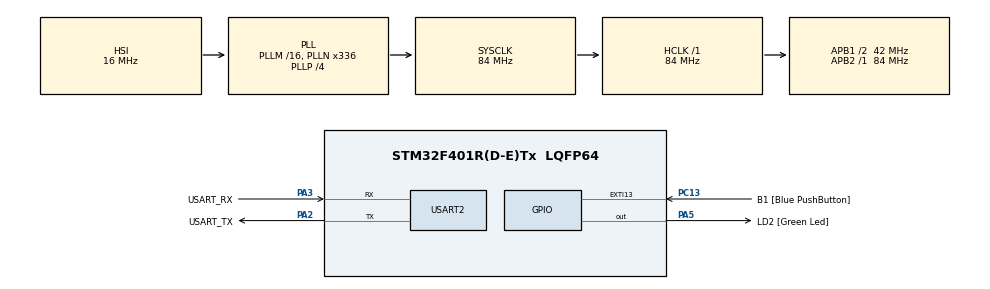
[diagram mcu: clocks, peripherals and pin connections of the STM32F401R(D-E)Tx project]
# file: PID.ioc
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Mcu.Family=STM32F4
Mcu.Name=STM32F401R(D-E)Tx
Mcu.Package=LQFP64
NVIC.PriorityGroup=NVIC_PRIORITYGROUP_0
PA13.GPIO_Label=TMS
PA13.Mode=Serial_Wire
PA13.Signal=SYS_JTMS-SWDIO
PA14.GPIO_Label=TCK
PA14.Mode=Serial_Wire
PA14.Signal=SYS_JTCK-SWCLK
PA2.GPIO_Label=USART_TX
PA2.GPIO_Mode=GPIO_MODE_AF_PP
PA2.GPIO_PuPd=GPIO_NOPULL
PA2.GPIO_Speed=GPIO_SPEED_FREQ_LOW
PA2.Mode=Asynchronous
PA2.Signal=USART2_TX
PA3.GPIO_Label=USART_RX
PA3.GPIO_Mode=GPIO_MODE_AF_PP
PA3.GPIO_PuPd=GPIO_NOPULL
PA3.GPIO_Speed=GPIO_SPEED_FREQ_LOW
PA3.Mode=Asynchronous
PA3.Signal=USART2_RX
PA5.GPIO_Label=LD2 [Green Led]
PA5.GPIO_Mode=GPIO_MODE_OUTPUT_PP
PA5.GPIO_PuPd=GPIO_NOPULL
PA5.GPIO_Speed=GPIO_SPEED_FREQ_LOW
PA5.Signal=GPIO_Output
PB3.GPIO_Label=SWO
PB3.Signal=SYS_JTDO-SWO
PC13-ANTI_TAMP.GPIO_Label=B1 [Blue PushButton]
PC13-ANTI_TAMP.GPIO_ModeDefaultEXTI=GPIO_MODE_IT_FALLING
PC13-ANTI_TAMP.GPIO_PuPd=GPIO_NOPULL
PC13-ANTI_TAMP.Signal=GPXTI13
PC14-OSC32_IN.Mode=LSE-External-Oscillator
PC14-OSC32_IN.Signal=RCC_OSC32_IN
PC15-OSC32_OUT.Mode=LSE-External-Oscillator
PC15-OSC32_OUT.Signal=RCC_OSC32_OUT
PH0\ -\ OSC_IN.Mode=HSE-External-Clock-Source
PH0\ -\ OSC_IN.Signal=RCC_OSC_IN
PH1\ -\ OSC_OUT.Mode=HSE-External-Clock-Source
PH1\ -\ OSC_OUT.Signal=RCC_OSC_OUT
ProjectManager.HeapSize=0x200
ProjectManager.StackSize=0x400
ProjectManager.TargetToolchain=Makefile
RCC.48MHZClocksFreq_Value=48000000
RCC.AHBFreq_Value=84000000
RCC.APB1CLKDivider=RCC_HCLK_DIV2
RCC.APB1Freq_Value=42000000
RCC.APB1TimFreq_Value=84000000
RCC.APB2Freq_Value=84000000
RCC.APB2TimFreq_Value=84000000
RCC.CortexFreq_Value=84000000
RCC.HCLKFreq_Value=84000000
RCC.HSE_VALUE=8000000
RCC.HSI_VALUE=16000000
RCC.PLLN=336
RCC.PLLP=RCC_PLLP_DIV4
RCC.PLLQ=7
RCC.SYSCLKFreq_VALUE=84000000
RCC.SYSCLKSource=RCC_SYSCLKSOURCE_PLLCLK
RCC.VCOOutputFreq_Value=336000000
USART2.VirtualMode=VM_ASYNC
board=NUCLEO-F401RE

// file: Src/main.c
/**
  ******************************************************************************
  * @file           : main.c
  * @brief          : Main program body
  ******************************************************************************
  ** This notice applies to any and all portions of this file
  * that are not between comment pairs USER CODE BEGIN and
  * USER CODE END. Other portions of this file, whether
  * inserted by the user or by software development tools
  * are owned by their respective copyright owners.
  *
  * COPYRIGHT(c) 2018 STMicroelectronics
  *
  * Redistribution and use in source and binary forms, with or without modification,
  * are permitted provided that the following conditions are met:
  *   1. Redistributions of source code must retain the above copyright notice,
  *      this list of conditions and the following disclaimer.
  *   2. Redistributions in binary form must reproduce the above copyright notice,
  *      this list of conditions and the following disclaimer in the documentation
  *      and/or other materials provided with the distribution.
  *   3. Neither the name of STMicroelectronics nor the names of its contributors
  *      may be used to endorse or promote products derived from this software
  *      without specific prior written permission.
  *
  * THIS SOFTWARE IS PROVIDED BY THE COPYRIGHT HOLDERS AND CONTRIBUTORS "AS IS"
  * AND ANY EXPRESS OR IMPLIED WARRANTIES, INCLUDING, BUT NOT LIMITED TO, THE
  * IMPLIED WARRANTIES OF MERCHANTABILITY AND FITNESS FOR A PARTICULAR PURPOSE ARE
  * DISCLAIMED. IN NO EVENT SHALL THE COPYRIGHT HOLDER OR CONTRIBUTORS BE LIABLE
  * FOR ANY DIRECT, INDIRECT, INCIDENTAL, SPECIAL, EXEMPLARY, OR CONSEQUENTIAL
  * DAMAGES (INCLUDING, BUT NOT LIMITED TO, PROCUREMENT OF SUBSTITUTE GOODS OR
  * SERVICES; LOSS OF USE, DATA, OR PROFITS; OR BUSINESS INTERRUPTION) HOWEVER
  * CAUSED AND ON ANY THEORY OF LIABILITY, WHETHER IN CONTRACT, STRICT LIABILITY,
  * OR TORT (INCLUDING NEGLIGENCE OR OTHERWISE) ARISING IN ANY WAY OUT OF THE USE
  * OF THIS SOFTWARE, EVEN IF ADVISED OF THE POSSIBILITY OF SUCH DAMAGE.
  *
  ******************************************************************************
  */
#include "main.h"
#include "stm32f4xx_hal.h"
#include "usart.h"
#include "gpio.h"

/* USER CODE BEGIN Includes */
#include "motor.h"
#include "odometry.h"
#include "PID.h"
/* USER CODE END Includes */

/* USER CODE BEGIN PV */
/* Private variables ---------------------------------------------------------*/
Odometry odometry;
PID_VALUE pidValSum;
PID_VALUE pidValDiff;
/* USER CODE END PV */

void SystemClock_Config(void);

/* USER CODE BEGIN PFP */
/* Private function prototypes -----------------------------------------------*/

/* USER CODE END PFP */

int main(void)
{
  /* USER CODE BEGIN 1 */
  #error "reglage des diff constantes"
  int sumGoal = 0;
  int diffGoal = 0;
  int sum = 0;
  int diff = 0;
  int Te =0.01;
  InitializationPid(pidValSum, sumGoal, 0.1, 0.1, 0.1);
  InitializationPid(pidValDiff, diffGoal, 0.1, 0.1, 0.1);
  init_odometry(&odometry,&htim2,&htim3,&htim15);

  /* USER CODE END 1 */

  /* MCU Configuration----------------------------------------------------------*/

  /* Reset of all peripherals, Initializes the Flash interface and the Systick. */
  HAL_Init();

  /* Configure the system clock */
  SystemClock_Config();

  /* Initialize all configured peripherals */
  MX_GPIO_Init();
  MX_USART2_UART_Init();

  /* Infinite loop */
  /* USER CODE BEGIN WHILE */
  while (1)
  {
   sum = odometry.encoder_l.steps + odometry.encoder_r.steps;
   diff = odometry.encoder_l.steps - odometry.encoder_r.steps;

  /* USER CODE END WHILE */
  /* USER CODE BEGIN 3 */
  newValueCalculation(pidValDiff, Te, sum);
  newValueCalculation(pidValSum, Te, diff);
  DRIVE_MOTOR_R(pidValDiff.currentValue+pidValSum.currentValue)
  DRIVE_MOTOR_L(pidValDiff.currentValue-pidValSum.currentValue)
  HAL_Delay(Te);
  }
  /* USER CODE END 3 */

}

void SystemClock_Config(void)
{

  RCC_OscInitTypeDef RCC_OscInitStruct;
  RCC_ClkInitTypeDef RCC_ClkInitStruct;

    /**Configure the main internal regulator output voltage
    */
  __HAL_RCC_PWR_CLK_ENABLE();

  __HAL_PWR_VOLTAGESCALING_CONFIG(PWR_REGULATOR_VOLTAGE_SCALE2);

    /**Initializes the CPU, AHB and APB busses clocks
    */
  RCC_OscInitStruct.OscillatorType = RCC_OSCILLATORTYPE_HSI;
  RCC_OscInitStruct.HSIState = RCC_HSI_ON;
  RCC_OscInitStruct.HSICalibrationValue = 16;
  RCC_OscInitStruct.PLL.PLLState = RCC_PLL_ON;
  RCC_OscInitStruct.PLL.PLLSource = RCC_PLLSOURCE_HSI;
  RCC_OscInitStruct.PLL.PLLM = 16;
  RCC_OscInitStruct.PLL.PLLN = 336;
  RCC_OscInitStruct.PLL.PLLP = RCC_PLLP_DIV4;
  RCC_OscInitStruct.PLL.PLLQ = 7;
  if (HAL_RCC_OscConfig(&RCC_OscInitStruct) != HAL_OK)
  {
    _Error_Handler(__FILE__, __LINE__);
  }

    /**Initializes the CPU, AHB and APB busses clocks
    */
  RCC_ClkInitStruct.ClockType = RCC_CLOCKTYPE_HCLK|RCC_CLOCKTYPE_SYSCLK
                              |RCC_CLOCKTYPE_PCLK1|RCC_CLOCKTYPE_PCLK2;
  RCC_ClkInitStruct.SYSCLKSource = RCC_SYSCLKSOURCE_PLLCLK;
  RCC_ClkInitStruct.AHBCLKDivider = RCC_SYSCLK_DIV1;
  RCC_ClkInitStruct.APB1CLKDivider = RCC_HCLK_DIV2;
  RCC_ClkInitStruct.APB2CLKDivider = RCC_HCLK_DIV1;

  if (HAL_RCC_ClockConfig(&RCC_ClkInitStruct, FLASH_LATENCY_2) != HAL_OK)
  {
    _Error_Handler(__FILE__, __LINE__);
  }

    /**Configure the Systick interrupt time
    */
  HAL_SYSTICK_Config(HAL_RCC_GetHCLKFreq()/1000);

    /**Configure the Systick
    */
  HAL_SYSTICK_CLKSourceConfig(SYSTICK_CLKSOURCE_HCLK);

  /* SysTick_IRQn interrupt configuration */
  HAL_NVIC_SetPriority(SysTick_IRQn, 0, 0);
}

void _Error_Handler(char *file, int line)
{
  while(1)
  {
  }
}

/************************ (C) COPYRIGHT STMicroelectronics *****END OF FILE****/
